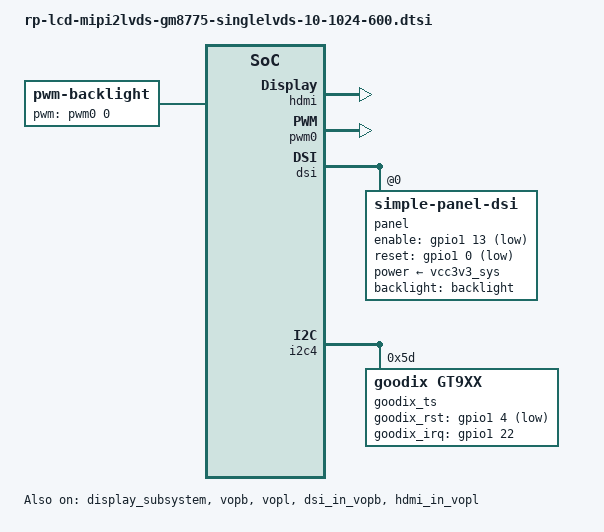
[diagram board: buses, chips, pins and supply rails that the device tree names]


/ {
	backlight: backlight {
		status = "okay";
		compatible = "pwm-backlight";
		pwms = <&pwm0 0 25000 1>;
		brightness-levels = <
			  0   1   2   3   4   5   6   7
			  8   9  10  11  12  13  14  15
			 16  17  18  19  20  21  22  23
			 24  25  26  27  28  29  30  31
			 32  33  34  35  36  37  38  39
			 40  41  42  43  44  45  46  47
			 48  49  50  51  52  53  54  55
			 56  57  58  59  60  61  62  63
			 64  65  66  67  68  69  70  71
			 72  73  74  75  76  77  78  79
			 80  81  82  83  84  85  86  87
			 88  89  90  91  92  93  94  95
			 96  97  98  99 100 101 102 103
			104 105 106 107 108 109 110 111
			112 113 114 115 116 117 118 119
			120 121 122 123 124 125 126 127
			128 129 130 131 132 133 134 135
			136 137 138 139 140 141 142 143
			144 145 146 147 148 149 150 151
			152 153 154 155 156 157 158 159
			160 161 162 163 164 165 166 167
			168 169 170 171 172 173 174 175
			176 177 178 179 180 181 182 183
			184 185 186 187 188 189 190 191
			192 193 194 195 196 197 198 199
			200 201 202 203 204 205 206 207
			208 209 210 211 212 213 214 215
			216 217 218 219 220 221 222 223
			224 225 226 227 228 229 230 231
			232 233 234 235 236 237 238 239
			240 241 242 243 244 245 246 247
			248 249 250 251 252 253 254 255>;
		default-brightness-level = <255>;
	};

        rpdzkj_config {
                compatible = "rp_config";
                user_version = "rpdzkj";
                system_rotate = "0";
                back_camera_rotate = "0";
                front_camera_rotate = "0";
                lcd_density = "160";//320
                language = "zh-CN";   //zh-CN //en-US
                time_zone = "Asia/Shanghai"; //Asia/Shanghai = +8   //Europe/London  = +0
                not_navigation_bar = "false";
                not_status_bar = "false";
                //not_status_bar = "true";
                default_launcher = "true";
                //default_launcher = "false";
                has_root = "true";  //true
                //has_root = "false";  //false
                usb_not_permission = "true";  
                usb_camera_only_front = "false";
                //usb_camera_only_front = "true";
                gps_use = "false";
                gps_serial_port = "/dev/ttyS4"; //UART4
				primary_device = "LVDS";
		extend_device = "HDMI-A";
		extend_rotate = "0";
		rotation_efull = "true";
		home_apk = "null";
                status = "okay";
        };

};


&hdmi {
       #address-cells = <1>;
       #size-cells = <0>;
       #sound-dai-cells = <0>;
       ddc-i2c-scl-high-time-ns = <9625>;
       ddc-i2c-scl-low-time-ns = <10000>;
       status = "okay";
};

&pwm0 {
       status = "okay";
};

&display_subsystem {
        status = "okay";

        ports = <&vopb_out>, <&vopl_out>;
        logo-memory-region = <&drm_logo>;

	route {
		route_hdmi: route-hdmi {
			status = "okay";
			logo,uboot = "logo.bmp";
			logo,kernel = "logo_kernel.bmp";
			logo,mode = "center";
			charge_logo,mode = "center";
			connect = <&vopl_out_hdmi>;
		};

		route_dsi: route-dsi {

			status = "okay";
			// status = "disabled";
			logo,uboot = "logo.bmp";
			logo,kernel = "logo_kernel.bmp";
			logo,mode = "center";
			charge_logo,mode = "center";
			connect = <&vopb_out_dsi>;
		};

		route_dsi1: route-dsi1 {
			status = "disabled";
			logo,uboot = "logo.bmp";
			logo,kernel = "logo_kernel.bmp";
			logo,mode = "center";
			charge_logo,mode = "center";
			connect = <&vopl_out_dsi1>;
		};

		route_edp: route-edp {
			status = "disabled";
			logo,uboot = "logo.bmp";
			logo,kernel = "logo_kernel.bmp";
			logo,mode = "center";
			charge_logo,mode = "center";
			connect = <&vopb_out_edp>;
		};
	};
};

&dsi {
        status = "okay";
	rockchip,lane-rate = <360>;
	
	panel {
		compatible ="simple-panel-dsi"; 
		status = "okay"; 
		reg = <0>; 
		power-supply = <&vcc3v3_sys>; 
		backlight = <&backlight>; 
		cmd_later_reset = <0>; 
		enable-gpios = <&gpio1 13 GPIO_ACTIVE_LOW>; 
		reset-gpios  = <&gpio1 0 GPIO_ACTIVE_LOW>;
		dsi,flags = <(MIPI_DSI_MODE_VIDEO | MIPI_DSI_MODE_VIDEO_BURST | MIPI_DSI_MODE_LPM|MIPI_DSI_MODE_EOT_PACKET)>; 
		dsi,format = <MIPI_DSI_FMT_RGB888>; 
//		bus-format = <MEDIA_BUS_FMT_RGB666_1X24>;
                dsi,lanes = <4>;
                reset-delay-ms = <100>;
                init-delay-ms = <100>;
                enable-delay-ms = <120>;
                disable-delay-ms = <50>;
                unprepare-delay-ms = <20>;
                
                width-mm = <68>;
                height-mm = <121>;
               	panel-init-sequence = [
												23 08 02 27 AA
												23 08 02 48 02
												23 08 02 B6 20
												23 08 02 01 00
												23 08 02 02 58
												23 08 02 03 24
												23 08 02 04 50
												23 08 02 05 12
												23 08 02 06 50
												23 08 02 07 00
												23 08 02 08 18
												23 08 02 09 04
												23 08 02 0A 18
												23 08 02 0B 82
												23 08 02 0C 1F
												23 08 02 0D 01
												23 08 02 0E 80
												23 08 02 0F 20
												23 08 02 10 20
												23 08 02 11 03
												23 08 02 12 1B
												23 08 02 13 07
												23 08 02 14 34
												23 08 02 15 20
												23 08 02 16 10
												23 08 02 17 00
												23 08 02 18 01
												23 08 02 19 23
												23 08 02 1A 40
												23 08 02 1B 00
												23 08 02 1E 46
												23 08 02 51 30
												23 08 02 1F 10
												23 08 02 2A 01


                        05 78 01 11
                        05 05 01 29
                ];

                panel-exit-sequence = [
                        05 00 01 28
                        05 78 01 10
                ];

                display-timings {
                        native-mode = <&timing0>;
                        timing0: timing0 {
                                clock-frequency = <50000000>;
                                hactive = <1024>;
                                vactive = <600>;
                                hback-porch = <80>;
                                hfront-porch = <80>;
                                vback-porch = <24>;
                                vfront-porch = <24>;
                                hsync-len = <18>;
                                vsync-len = <4>;
                                hsync-active = <0>;
                                vsync-active = <0>;
                                de-active = <0>;
                                pixelclk-active = <0>;
                        };
                };
        };
};

&route_dsi {
	status = "okay";
};


&vopb {
        assigned-clocks = <&cru DCLK_VOP0_DIV>;
        assigned-clock-parents = <&cru PLL_CPLL>;
        //assigned-clock-parents = <&cru PLL_VPLL>;
        status = "okay";
};

&vopb_mmu {
        status = "okay";
};

&vopl {
        assigned-clocks = <&cru DCLK_VOP1_DIV>;
        assigned-clock-parents = <&cru PLL_VPLL>;
        //assigned-clock-parents = <&cru PLL_CPLL>;
        status = "okay";
};

&vopl_mmu {
        status = "okay";
};

&dsi_in_vopl {
        status = "disabled";
};

&dsi_in_vopb { 
        status = "okay"; 
}; 
 
&hdmi_in_vopb {
        status = "disabled";
};

&hdmi_in_vopl { 
        status = "okay"; 
}; 
 

&edp_in_vopb { 
        status = "disabled"; 
}; 
&edp_in_vopl { 
        status = "disabled"; 
}; 

&dsi1_in_vopb { 
        status = "disabled"; 
}; 
&dsi1_in_vopl { 
        status = "disabled"; 
}; 

&i2c4 {
        status = "okay";
	
	goodix_ts@5d {
                compatible = "goodix,gt9xx";
                reg = <0x5d>;
		gtp_resolution_x = <800>;
		gtp_resolution_y = <1280>;
		gtp_int_tarigger = <1>;
		gtp_change_x2y = <0>;
		gtp_overturn_x = <0>;
		gtp_overturn_y = <0>;
		gtp_send_cfg = <1>;
		gtp_touch_wakeup = <1>;
		goodix_rst_gpio = <&gpio1 4 GPIO_ACTIVE_LOW>;
		goodix_irq_gpio = <&gpio1 22 IRQ_TYPE_EDGE_RISING>;
	
/* old touchscreen sensor_id0 */
                goodix,cfg-group0 = [
					00 20 03 00 05 0A 05 00 01 08 
					28 05 50 32 03 05 00 00 00 00 
					00 00 00 00 00 00 00 90 30 AA 
					17 15 31 0D 00 00 01 B9 04 25 
					00 00 00 00 00 00 00 00 00 00 
					00 0F 23 94 C5 02 07 00 00 04 
					9F 10 00 8B 13 00 7C 16 00 6B 
					1B 00 60 20 00 60 00 00 00 00 
					00 00 00 00 00 00 00 00 00 00 
					00 00 00 00 00 00 00 00 00 00 
					00 00 00 00 00 00 00 00 00 00 
					00 00 19 18 17 16 15 14 11 10 
					0F 0E 0D 0C 09 08 07 06 05 04 
					01 00 00 00 00 00 00 00 00 00 
					00 00 2A 29 28 27 26 25 24 23 
					22 21 20 1F 1E 1C 1B 19 00 02 
					04 06 07 08 0A 0C 0D 0E 0F 10 
					11 12 13 14 00 00 00 00 00 00 
					00 00 00 00 96 01
					];
/* new touchscreen sensor_id2 */					
                goodix,cfg-group2 = [
					 00 20 03 00 05 0A 35 00 00
					 05 28 08 55 41 03 05 00 00
					 00 00 00 00 00 1A 1C 1E 14
					 8E 2E 99 14 16 D3 07 00 00
					 00 9B 02 2D 00 00 00 00 00
					 00 00 00 00 00 00 0F 23 94
					 D5 02 07 00 00 04 9D 10 00
					 86 13 00 75 16 00 61 1B 00
					 53 20 00 53 00 00 00 00 00
					 00 00 00 00 00 00 00 00 00
					 00 00 00 00 00 00 00 00 00
					 00 00 00 00 00 00 00 00 00
					 00 00 00 00 17 16 15 14 11
					 10 0F 0E 0D 0C 09 08 07 06
					 05 04 01 00 FF FF 00 00 00
					 00 00 00 00 00 00 00 00 02
					 04 06 07 08 0A 0C 0D 0F 10
					 11 12 13 28 27 26 25 24 23
					 22 21 20 1F 1E 1C 1B 19 FF
					 FF FF FF 00 00 00 00 00 00
					 00 00 00 00 4D 01
				 ];

	};
};
